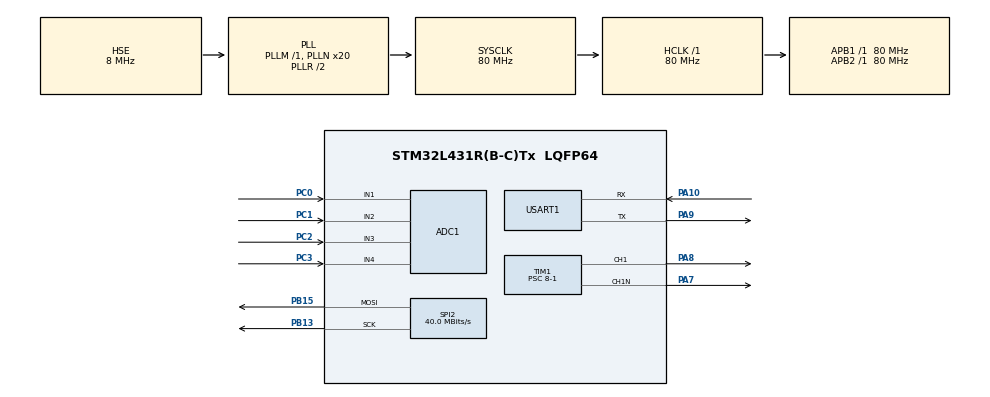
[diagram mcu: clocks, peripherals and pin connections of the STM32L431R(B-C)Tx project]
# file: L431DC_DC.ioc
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ADC1.Channel-0\#ChannelRegularConversion=ADC_CHANNEL_1
ADC1.Channel-1\#ChannelRegularConversion=ADC_CHANNEL_2
ADC1.Channel-2\#ChannelRegularConversion=ADC_CHANNEL_3
ADC1.Channel-3\#ChannelRegularConversion=ADC_CHANNEL_4
ADC1.ContinuousConvMode=ENABLE
ADC1.DMAContinuousRequests=ENABLE
ADC1.NbrOfConversion=4
ADC1.NbrOfConversionFlag=1
ADC1.OffsetNumber-0\#ChannelRegularConversion=ADC_OFFSET_NONE
ADC1.OffsetNumber-1\#ChannelRegularConversion=ADC_OFFSET_NONE
ADC1.OffsetNumber-2\#ChannelRegularConversion=ADC_OFFSET_NONE
ADC1.OffsetNumber-3\#ChannelRegularConversion=ADC_OFFSET_NONE
ADC1.Rank-0\#ChannelRegularConversion=1
ADC1.Rank-1\#ChannelRegularConversion=2
ADC1.Rank-2\#ChannelRegularConversion=3
ADC1.Rank-3\#ChannelRegularConversion=4
ADC1.SamplingTime-0\#ChannelRegularConversion=ADC_SAMPLETIME_12CYCLES_5
ADC1.SamplingTime-1\#ChannelRegularConversion=ADC_SAMPLETIME_12CYCLES_5
ADC1.SamplingTime-2\#ChannelRegularConversion=ADC_SAMPLETIME_12CYCLES_5
ADC1.SamplingTime-3\#ChannelRegularConversion=ADC_SAMPLETIME_12CYCLES_5
ADC1.master=1
Dma.ADC1.1.Direction=DMA_PERIPH_TO_MEMORY
Dma.ADC1.1.Instance=DMA1_Channel1
Dma.ADC1.1.MemDataAlignment=DMA_MDATAALIGN_HALFWORD
Dma.ADC1.1.MemInc=DMA_MINC_ENABLE
Dma.ADC1.1.Mode=DMA_CIRCULAR
Dma.ADC1.1.PeriphDataAlignment=DMA_PDATAALIGN_HALFWORD
Dma.ADC1.1.PeriphInc=DMA_PINC_DISABLE
Dma.ADC1.1.Priority=DMA_PRIORITY_LOW
Dma.Request0=USART1_TX
Dma.Request1=ADC1
Dma.Request2=USART1_RX
Dma.USART1_RX.2.Direction=DMA_PERIPH_TO_MEMORY
Dma.USART1_RX.2.Instance=DMA1_Channel5
Dma.USART1_RX.2.MemDataAlignment=DMA_MDATAALIGN_BYTE
Dma.USART1_RX.2.MemInc=DMA_MINC_ENABLE
Dma.USART1_RX.2.Mode=DMA_NORMAL
Dma.USART1_RX.2.PeriphDataAlignment=DMA_PDATAALIGN_BYTE
Dma.USART1_RX.2.PeriphInc=DMA_PINC_DISABLE
Dma.USART1_RX.2.Priority=DMA_PRIORITY_LOW
Dma.USART1_TX.0.Direction=DMA_MEMORY_TO_PERIPH
Dma.USART1_TX.0.Instance=DMA1_Channel4
Dma.USART1_TX.0.MemDataAlignment=DMA_MDATAALIGN_BYTE
Dma.USART1_TX.0.MemInc=DMA_MINC_ENABLE
Dma.USART1_TX.0.Mode=DMA_NORMAL
Dma.USART1_TX.0.PeriphDataAlignment=DMA_PDATAALIGN_BYTE
Dma.USART1_TX.0.PeriphInc=DMA_PINC_DISABLE
Dma.USART1_TX.0.Priority=DMA_PRIORITY_VERY_HIGH
Mcu.Family=STM32L4
Mcu.Name=STM32L431R(B-C)Tx
Mcu.Package=LQFP64
NVIC.DMA1_Channel1_IRQn=true\:0\:0\:false\:false\:true\:false\:true
NVIC.DMA1_Channel4_IRQn=true\:0\:0\:false\:false\:true\:false\:true
NVIC.DMA1_Channel5_IRQn=true\:0\:0\:false\:false\:true\:false\:true
NVIC.PriorityGroup=NVIC_PRIORITYGROUP_4
NVIC.TIM2_IRQn=true\:0\:0\:false\:false\:true\:true\:true
NVIC.USART1_IRQn=true\:0\:0\:false\:false\:true\:true\:true
PA10.Mode=Asynchronous
PA10.Signal=USART1_RX
PA13\ (JTMS-SWDIO).Mode=Serial_Wire
PA13\ (JTMS-SWDIO).Signal=SYS_JTMS-SWDIO
PA14\ (JTCK-SWCLK).Mode=Serial_Wire
PA14\ (JTCK-SWCLK).Signal=SYS_JTCK-SWCLK
PA7.Mode=PWM Generation1 CH1 CH1N
PA7.Signal=TIM1_CH1N
PA8.Signal=S_TIM1_CH1
PA9.Mode=Asynchronous
PA9.Signal=USART1_TX
PB13.Mode=TX_Only_Simplex_Unidirect_Master
PB13.Signal=SPI2_SCK
PB15.Mode=TX_Only_Simplex_Unidirect_Master
PB15.Signal=SPI2_MOSI
PC0.Signal=ADCx_IN1
PC1.Signal=ADCx_IN2
PC2.Signal=ADCx_IN3
PC3.Signal=ADCx_IN4
PH0-OSC_IN\ (PH0).Mode=HSE-External-Oscillator
PH0-OSC_IN\ (PH0).Signal=RCC_OSC_IN
PH1-OSC_OUT\ (PH1).Mode=HSE-External-Oscillator
PH1-OSC_OUT\ (PH1).Signal=RCC_OSC_OUT
ProjectManager.HeapSize=0x200
ProjectManager.StackSize=0x400
ProjectManager.TargetToolchain=MDK-ARM V5.27
RCC.ADCFreq_Value=32000000
RCC.AHBFreq_Value=80000000
RCC.APB1Freq_Value=80000000
RCC.APB1TimFreq_Value=80000000
RCC.APB2Freq_Value=80000000
RCC.APB2TimFreq_Value=80000000
RCC.CortexFreq_Value=80000000
RCC.HCLKFreq_Value=80000000
RCC.HSE_VALUE=8000000
RCC.HSI48_VALUE=48000000
RCC.HSI_VALUE=16000000
RCC.LSE_VALUE=32768
RCC.MSI_VALUE=4000000
RCC.PLLN=20
RCC.PLLSourceVirtual=RCC_PLLSOURCE_HSE
RCC.SYSCLKFreq_VALUE=80000000
RCC.SYSCLKSource=RCC_SYSCLKSOURCE_PLLCLK
RCC.VCOOutputFreq_Value=160000000
SH.ADCx_IN1.0=ADC1_IN1,IN1-Single-Ended
SH.ADCx_IN2.0=ADC1_IN2,IN2-Single-Ended
SH.ADCx_IN3.0=ADC1_IN3,IN3-Single-Ended
SH.ADCx_IN4.0=ADC1_IN4,IN4-Single-Ended
SH.S_TIM1_CH1.0=TIM1_CH1,PWM Generation1 CH1 CH1N
SPI2.BaudRatePrescaler=SPI_BAUDRATEPRESCALER_2
SPI2.CalculateBaudRate=40.0 MBits/s
SPI2.DataSize=SPI_DATASIZE_8BIT
SPI2.Direction=SPI_DIRECTION_2LINES
SPI2.Mode=SPI_MODE_MASTER
SPI2.VirtualType=VM_MASTER
TIM1.Channel-PWM\ Generation1\ CH1\ CH1N=TIM_CHANNEL_1
TIM1.Period=1000-1
TIM1.Prescaler=8-1
TIM2.AutoReloadPreload=TIM_AUTORELOAD_PRELOAD_ENABLE
TIM2.Period=100-1
TIM2.Prescaler=72-1
USART1.VirtualMode-Asynchronous=VM_ASYNC
VP_TIM1_VS_ClockSourceINT.Mode=Internal
VP_TIM2_VS_ClockSourceINT.Mode=Internal
board=custom

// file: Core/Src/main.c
/* USER CODE BEGIN Header */
/**
 ******************************************************************************
 * @file           : main.c
 * @brief          : Main program body
 ******************************************************************************
 * @attention
 *
 * <h2><center>&copy; Copyright (c) 2022 STMicroelectronics.
 * All rights reserved.</center></h2>
 *
 * This software component is licensed by ST under BSD 3-Clause license,
 * the "License"; You may not use this file except in compliance with the
 * License. You may obtain a copy of the License at:
 *                        opensource.org/licenses/BSD-3-Clause
 *
 ******************************************************************************
 */
/* USER CODE END Header */
#include "main.h"
#include "adc.h"
#include "dma.h"
#include "spi.h"
#include "tim.h"
#include "usart.h"
#include "gpio.h"

/* USER CODE BEGIN PV */
PID_InitTypeDef PID_Init = {13.904, 0.5, 100.90, 0};
                            // 14.2,0.0005,140.1,7.4    13.904,0,0,0
/* USER CODE END PV */

void SystemClock_Config(void);
/* USER CODE BEGIN PFP */
void LCD_DISPLAY(void);
/* USER CODE END PFP */

/* USER CODE BEGIN 0 */
uint16_t aADCxConvertedData[4];
uint8_t KEY, Mode = 0;
char datatemp1[10][20];
// uint16_t Time_2;
float Vsum, Vall, VO, R_NOW, P_LAST, I_NOW, R_Want = 10.9, WANT;
float Isum, IO, Isum2, Vsum2;
uint16_t Out_Duty = 500;
int updown;
char datatemp2[100]={0};
uint8_t Flag_LCD = 0, Flag_MATH = 0, Flag_ADC = 0, Duty_Flag = 0;
  int i=0,j=0,k=0,num1[5],num2[5];
  float num3[5];
/* USER CODE END 0 */

int main(void)
{

  /* MCU Configuration--------------------------------------------------------*/

  /* Reset of all peripherals, Initializes the Flash interface and the Systick. */
  HAL_Init();

  /* Configure the system clock */
  SystemClock_Config();

  /* Initialize all configured peripherals */
  MX_GPIO_Init();
  MX_DMA_Init();
  MX_ADC1_Init();
  MX_SPI2_Init();
  MX_TIM2_Init();
  MX_USART1_UART_Init();
  MX_TIM1_Init();
  /* USER CODE BEGIN 2 */
  HAL_TIM_Base_Start(&htim1);
  HAL_TIM_PWM_Start(&htim1, TIM_CHANNEL_1);
  HAL_TIMEx_PWMN_Start(&htim1, TIM_CHANNEL_1);
 HAL_TIM_Base_Start_IT(&htim2);
 HAL_ADC_ConvCpltCallback(&hadc1);
 HAL_ADC_Start_DMA(&hadc1, (uint32_t *)&aADCxConvertedData, 4);
 Lcd_Init();
 delay_init(80); //��ʱ������ʼ��
 KEY_Init();     //������ʼ��
 Lcd_Clear(RED);
  /* USER CODE END 2 */

  /* Infinite loop */
  /* USER CODE BEGIN WHILE */
  while (1)
  {
		// TIM1->CCR1 = 500;
   Vsum = First_order_lag_filtering(0.01, aADCxConvertedData[0]);
   Vsum = Vsum * 3.3 / 4095.0;
   Isum = (Vsum - 2.36) / 0.28; /*Isum*/ // 0.28

   Vsum2 = First_order_lag_filtering1(0.01, aADCxConvertedData[3]);
   Vsum2 = Vsum2 * 3.3 / 4095.0;
   Isum2 = (Vsum2 - 2.36) / 0.33; /*Isum2*/ //	0.33

   //				WANT=Isum*10.9256 ;		/*Ŀ���������?*/
   Vall = First_order_lag_filtering2(0.01, aADCxConvertedData[1]); /*V*/
   Vall = (Vall * 3.3 / 4095.0) * 19.71;                           //	DCDC��ʱ���?25.36//20.24

   I_NOW = Isum2 + Isum;

   KEY = KEY_Scan(0);
   if (KEY == 4)
   {
     Mode = !Mode;
   }
   if (Mode == 1)
     WANT = I_NOW / 3.0;
   else
     WANT = I_NOW / 2.0;

   Out_Duty = PID_Error_Deal(Vall, 600, 300, Out_Duty, 10.0, &PID_Init); /*��ѹ��*/
   TIM1->CCR1 = Out_Duty;

//    Usart1_Printf("%.3f,%d,%f,%f,%f,%f,%f,%f\r\n", Vall, Out_Duty,num3[0],num3[1],num3[2],PID_Init.P,PID_Init.I,PID_Init.D);
    // memset(datatemp2, 0, sizeof(datatemp2));
    //				Out_Duty = PID_Error_Deal(Isum2,600,300,Out_Duty,WANT);
    //        TIM1->CCR1 = Out_Duty;
    //				printf("%6.3f,%8.3f,%6.3f,%8.3f,%6.3f,%d,%6.3f\r\n",Vsum,Isum,Vsum2,Isum2,Vall,Out_Duty,WANT,&PID_Init);
    //        if(Flag_LCD==1)
    //        {
    // //					memset(datatemp2,1,sizeof(datatemp2));
    // ////		LCD_DISPLAY();
    //            Flag_LCD=0;
    //        }

    /* USER CODE END WHILE */

  }
}

void SystemClock_Config(void)
{
  RCC_OscInitTypeDef RCC_OscInitStruct = {0};
  RCC_ClkInitTypeDef RCC_ClkInitStruct = {0};

  /** Configure the main internal regulator output voltage
   */
  if (HAL_PWREx_ControlVoltageScaling(PWR_REGULATOR_VOLTAGE_SCALE1) != HAL_OK)
  {
    Error_Handler();
  }
  /** Initializes the RCC Oscillators according to the specified parameters
   * in the RCC_OscInitTypeDef structure.
   */
  RCC_OscInitStruct.OscillatorType = RCC_OSCILLATORTYPE_HSE;
  RCC_OscInitStruct.HSEState = RCC_HSE_ON;
  RCC_OscInitStruct.PLL.PLLState = RCC_PLL_ON;
  RCC_OscInitStruct.PLL.PLLSource = RCC_PLLSOURCE_HSE;
  RCC_OscInitStruct.PLL.PLLM = 1;
  RCC_OscInitStruct.PLL.PLLN = 20;
  RCC_OscInitStruct.PLL.PLLP = RCC_PLLP_DIV7;
  RCC_OscInitStruct.PLL.PLLQ = RCC_PLLQ_DIV2;
  RCC_OscInitStruct.PLL.PLLR = RCC_PLLR_DIV2;
  if (HAL_RCC_OscConfig(&RCC_OscInitStruct) != HAL_OK)
  {
    Error_Handler();
  }
  /** Initializes the CPU, AHB and APB buses clocks
   */
  RCC_ClkInitStruct.ClockType = RCC_CLOCKTYPE_HCLK | RCC_CLOCKTYPE_SYSCLK | RCC_CLOCKTYPE_PCLK1 | RCC_CLOCKTYPE_PCLK2;
  RCC_ClkInitStruct.SYSCLKSource = RCC_SYSCLKSOURCE_PLLCLK;
  RCC_ClkInitStruct.AHBCLKDivider = RCC_SYSCLK_DIV1;
  RCC_ClkInitStruct.APB1CLKDivider = RCC_HCLK_DIV1;
  RCC_ClkInitStruct.APB2CLKDivider = RCC_HCLK_DIV1;

  if (HAL_RCC_ClockConfig(&RCC_ClkInitStruct, FLASH_LATENCY_4) != HAL_OK)
  {
    Error_Handler();
  }
}

/* USER CODE BEGIN 4 */
// void HAL_TIM_PeriodElapsedCallback(TIM_HandleTypeDef *htim) {
//     static uint16_t time=0;
//     if (htim->Instance == TIM2)
//     {
//         time++;
//
//         if(time>=100)
//         {
//
//             Flag_LCD=1;
//             time=0;
//         }

//    }

//}
void LCD_DISPLAY(void)
{
  //				printf("%.3f,%d,%.3f\r\n",VL,Out_Duty,R_NOW);

  sprintf(datatemp1[2], "Duty:%d", Out_Duty);
  sprintf(datatemp1[3], "VH:%6.3f", Vsum);
  sprintf(datatemp1[4], "IH:%6.3f", Isum);
  sprintf(datatemp1[5], "VO:%6.3f", VO);
  sprintf(datatemp1[6], "IO:%6.3f", IO);
  sprintf(datatemp1[7], "Vall:%6.3f", Vall);
  sprintf(datatemp1[8], "RN:%6.3f", R_NOW);
  //    sprintf(datatemp1[9],"PN:%6.3f,PL:%6.3f",P_NOW,P_LAST);

  Show_Str(0, 12, BLUE, GREEN, datatemp1[2], 12, 1);
  Show_Str(0, 24, BLUE, GREEN, datatemp1[3], 12, 1);
  Show_Str(0, 36, BLUE, GREEN, datatemp1[4], 12, 1);
  Show_Str(0, 48, BLUE, GREEN, datatemp1[5], 12, 1);
  Show_Str(0, 60, BLUE, GREEN, datatemp1[6], 12, 1);
  Show_Str(0, 72, BLUE, GREEN, datatemp1[7], 12, 1);
  Show_Str(0, 84, BLUE, GREEN, datatemp1[8], 12, 1);
  Show_Str(0, 96, BLUE, GREEN, datatemp1[9], 12, 1);
}
/* USER CODE END 4 */

void Error_Handler(void)
{
  __disable_irq();
  while (1)
  {
  }
}

/************************ (C) COPYRIGHT STMicroelectronics *****END OF FILE****/
